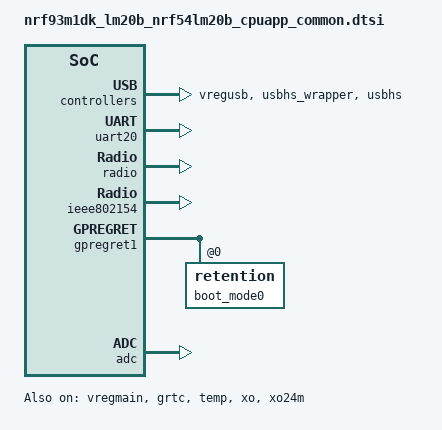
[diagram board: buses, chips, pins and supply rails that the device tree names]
/*
 * Copyright (c) 2026 Nordic Semiconductor ASA
 *
 * SPDX-License-Identifier: Apache-2.0
 */

/* This file is common to the secure and non-secure domain */

#include "nrf93m1dk_lm20b_nrf54lm20b_common.dtsi"

/ {
	chosen {
		zephyr,console = &uart20;
		zephyr,shell-uart = &uart20;
		zephyr,uart-mcumgr = &uart20;
		zephyr,bt-mon-uart = &uart20;
		zephyr,bt-c2h-uart = &uart20;
		zephyr,flash-controller = &rram_controller;
		zephyr,flash = &cpuapp_rram;
		zephyr,ieee802154 = &ieee802154;
		zephyr,boot-mode = &boot_mode0;
	};

	aliases {
		mcuboot-button0 = &button0;
		mcuboot-led0 = &led0;
	};
};

&cpuapp_sram {
	status = "okay";
};

&hfpll {
	clock-frequency = <DT_FREQ_M(128)>;
};

&lfxo {
	load-capacitors = "internal";
	load-capacitance-femtofarad = <9000>;
};

&hfxo {
	load-capacitors = "internal";
	load-capacitance-femtofarad = <8000>;
};

&vregusb {
	status = "okay";
};

&vregmain {
	status = "okay";
	regulator-initial-mode = <NRF5X_REG_MODE_DCDC>;
};

&grtc {
	owned-channels = <0 1 2 3 4 5 6 7 8 9 10 11>;
	/* Channels 7-11 reserved for Zero Latency IRQs, 3-4 for FLPR */
	child-owned-channels = <3 4 7 8 9 10 11>;
	status = "okay";
};

&uart20 {
	status = "okay";
};

&gpio0 {
	status = "okay";
};

&gpio1 {
	status = "okay";
};

&gpio2 {
	status = "okay";
};

&gpio3 {
	status = "okay";
};

&gpiote20 {
	status = "okay";
};

&gpiote30 {
	status = "okay";
};

&radio {
	status = "okay";
};

&ieee802154 {
	status = "okay";
};

&temp {
	status = "okay";
};

&clock {
	status = "okay";
};

&xo {
	status = "okay";
};

&xo24m {
	status = "okay";
};

&lfclk {
	status = "okay";
	k32src-accuracy-ppm = <20>;
};

&gpregret1 {
	status = "okay";

	boot_mode0: boot_mode@0 {
		compatible = "zephyr,retention";
		status = "okay";
		reg = <0x0 0x1>;
	};
};

&usbhs_wrapper {
	status = "okay";
};

zephyr_udc0: &usbhs {
	status = "okay";
};

zephyr_uhc0: &usbhs {
	status = "okay";
};

&adc {
	status = "okay";
};
